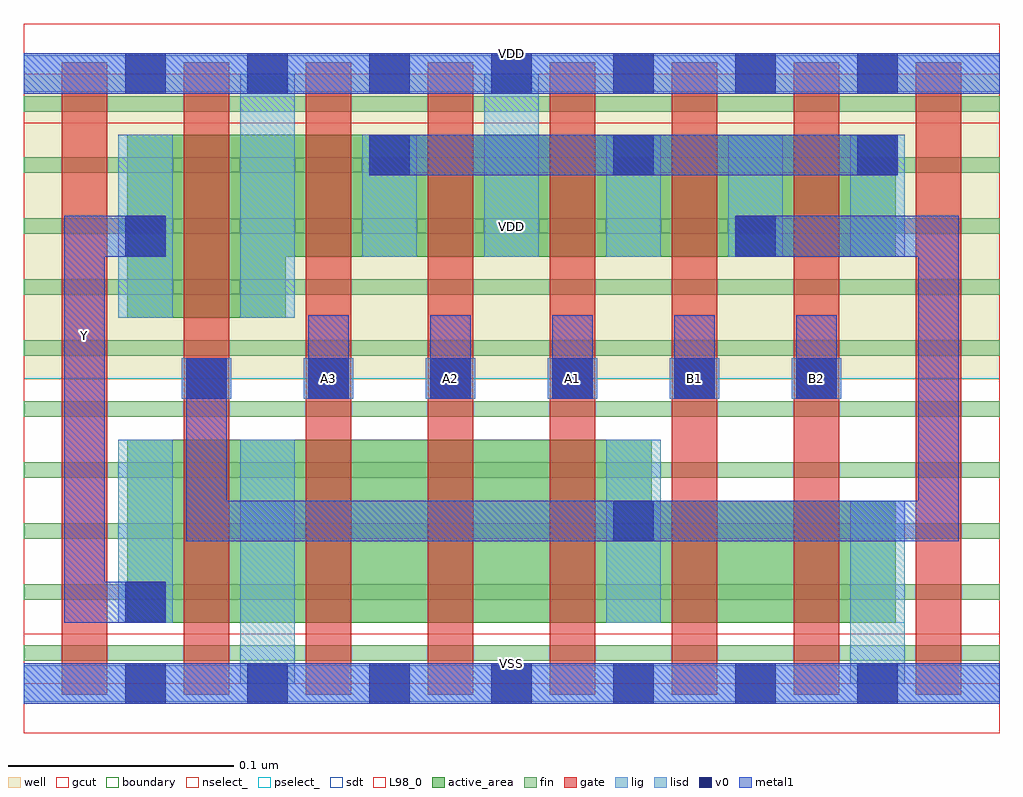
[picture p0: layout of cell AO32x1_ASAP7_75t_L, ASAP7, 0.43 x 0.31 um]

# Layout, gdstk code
import gdstk
lib = gdstk.Library(unit=1e-6, precision=2.5e-10)
def R(c, l, rs):  # rectangles x0, y0, x1, y1
    for r in rs: c.add(gdstk.rectangle(r[:2], r[2:], *l))
def A(c, l, x, y, w, h, nx, ny, dx, dy):  # array of equal rectangles
    R(c, l, [(x+i*dx, y+j*dy, x+i*dx+w, y+j*dy+h) for i in range(nx) for j in range(ny)])
def P(c, l, *ps):  # polygons
    for p in ps: c.add(gdstk.Polygon(p, *l))
well = (1, 0)
fin = (2, 0)
gate = (7, 0)
gcut = (10, 0)
active_area = (11, 0)
nselect_ = (12, 0)
pselect_ = (13, 0)
lig = (16, 0)
lisd = (17, 0)
v0 = (18, 0)
metal1 = (19, 0)
sdt = (88, 0)
L98_0 = (98, 0)
boundary = (100, 0)

ao32x1_asap7_75t_l = lib.new_cell('AO32x1_ASAP7_75t_L')
R(ao32x1_asap7_75t_l, well, [(0,0.135,0.432,0.27)])
A(ao32x1_asap7_75t_l, fin, 0, 0.01, 0.432, 0.007, 1, 10, 0, 0.027)
A(ao32x1_asap7_75t_l, gate, 0.017, -0.005, 0.02, 0.28, 8, 1, 0.054, 0)
R(ao32x1_asap7_75t_l, gcut, [(0,-0.022,0.432,0.022), (0,0.248,0.432,0.292)])
P(ao32x1_asap7_75t_l, active_area, [(0.278,0.108),(0.046,0.108),(0.046,0.027),(0.386,0.027),(0.386,0.081),(0.278,0.081)],
  [(0.386,0.243),(0.046,0.243),(0.046,0.162),(0.116,0.162),(0.116,0.189),(0.386,0.189)])
R(ao32x1_asap7_75t_l, nselect_, [(0,0,0.432,0.135)])
R(ao32x1_asap7_75t_l, pselect_, [(0,0.135,0.432,0.27)])
A(ao32x1_asap7_75t_l, lig, 0.07, 0.126, 0.022, 0.018, 6, 1, 0.054, 0)
R(ao32x1_asap7_75t_l, lig, [(0,-0.008,0.432,0.008), (0,0.262,0.432,0.278)])
A(ao32x1_asap7_75t_l, lisd, 0.258, 0.189, 0.024, 0.054, 3, 1, 0.054, 0)
R(ao32x1_asap7_75t_l, lisd, [(0.096,0,0.12,0.108), (0.096,0,0.12,0.108), (0.366,0,0.39,0.081), (0.366,0,0.39,0.081), (0.042,0.027,0.066,0.108), (0.258,0.027,0.282,0.108), (0.042,0.162,0.066,0.243), (0.096,0.162,0.12,0.27), (0.096,0.162,0.12,0.27), (0.15,0.189,0.174,0.243), (0.204,0.189,0.228,0.27), (0.204,0.189,0.228,0.27)])
A(ao32x1_asap7_75t_l, v0, 0.045, -0.009, 0.018, 0.018, 7, 2, 0.054, 0.27)
A(ao32x1_asap7_75t_l, v0, 0.072, 0.126, 0.018, 0.018, 6, 1, 0.054, 0)
A(ao32x1_asap7_75t_l, v0, 0.153, 0.225, 0.018, 0.018, 3, 1, 0.108, 0)
R(ao32x1_asap7_75t_l, v0, [(0.045,0.027,0.063,0.045), (0.261,0.063,0.279,0.081), (0.045,0.189,0.063,0.207), (0.315,0.189,0.333,0.207)])
A(ao32x1_asap7_75t_l, metal1, 0.072, 0.126, 0.018, 0.018, 6, 1, 0.054, 0)
A(ao32x1_asap7_75t_l, metal1, 0.126, 0.126, 0.018, 0.037, 5, 1, 0.054, 0)
A(ao32x1_asap7_75t_l, metal1, 0.153, 0.225, 0.018, 0.018, 3, 1, 0.108, 0)
R(ao32x1_asap7_75t_l, metal1, [(0,-0.009,0.432,0.009), (0.045,0.027,0.063,0.045), (0.261,0.063,0.279,0.081), (0.045,0.189,0.063,0.207), (0.315,0.189,0.333,0.207), (0.153,0.225,0.387,0.243), (0,0.261,0.432,0.279)])
P(ao32x1_asap7_75t_l, metal1, [(0.063,0.045),(0.036,0.045),(0.036,0.189),(0.063,0.189),(0.063,0.207),(0.018,0.207),(0.018,0.027),(0.063,0.027)],
  [(0.315,0.207),(0.315,0.189),(0.396,0.189),(0.396,0.081),(0.09,0.081),(0.09,0.144),(0.072,0.144),(0.072,0.063),(0.414,0.063),(0.414,0.207)])
A(ao32x1_asap7_75t_l, sdt, 0.204, 0.189, 0.024, 0.054, 4, 1, 0.054, 0)
R(ao32x1_asap7_75t_l, sdt, [(0.042,0.027,0.066,0.108), (0.096,0.027,0.12,0.108), (0.096,0.027,0.12,0.108), (0.258,0.027,0.282,0.108), (0.366,0.027,0.39,0.081), (0.366,0.027,0.39,0.081), (0.042,0.162,0.066,0.243), (0.096,0.162,0.12,0.243), (0.096,0.162,0.12,0.243), (0.15,0.189,0.174,0.243), (0.204,0.189,0.228,0.243)])
R(ao32x1_asap7_75t_l, L98_0, [(0,0,0.432,0.27)])
R(ao32x1_asap7_75t_l, boundary, [(0,0,0.432,0.27)])
ao32x1_asap7_75t_l.add(gdstk.Label('VDD', (0.216,0.2025), layer=1, texttype=251))
ao32x1_asap7_75t_l.add(gdstk.Label('VSS', (0.216,-0.0675), layer=3, texttype=251))
ao32x1_asap7_75t_l.add(gdstk.Label('VSS', (0.216,0.009), layer=19, texttype=251))
ao32x1_asap7_75t_l.add(gdstk.Label('VDD', (0.216,0.279), layer=19, texttype=251))
ao32x1_asap7_75t_l.add(gdstk.Label('Y', (0.027,0.154), layer=19, texttype=251))
ao32x1_asap7_75t_l.add(gdstk.Label('A3', (0.135,0.135), layer=19, texttype=251))
ao32x1_asap7_75t_l.add(gdstk.Label('A2', (0.189,0.135), layer=19, texttype=251))
ao32x1_asap7_75t_l.add(gdstk.Label('A1', (0.243,0.135), layer=19, texttype=251))
ao32x1_asap7_75t_l.add(gdstk.Label('B1', (0.297,0.135), layer=19, texttype=251))
ao32x1_asap7_75t_l.add(gdstk.Label('B2', (0.351,0.135), layer=19, texttype=251))

lib.write_gds('AO32x1_ASAP7_75t_L.gds')
